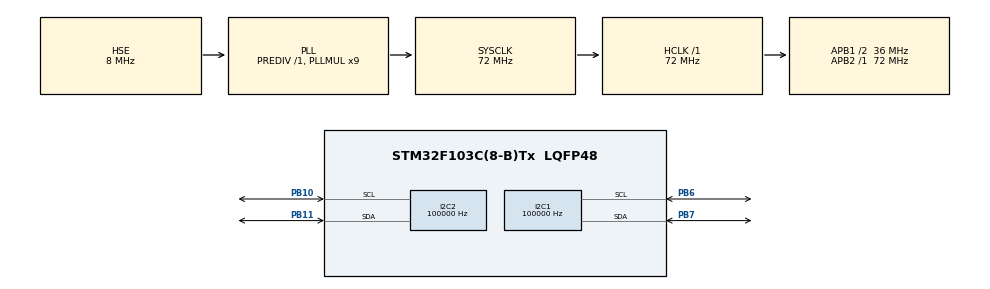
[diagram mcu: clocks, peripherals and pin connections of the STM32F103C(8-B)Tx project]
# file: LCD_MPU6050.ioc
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I2C1.ClockSpeed=100000
I2C1.I2C_Mode=I2C_Standard
I2C2.ClockSpeed=100000
I2C2.I2C_Mode=I2C_Standard
Mcu.Family=STM32F1
Mcu.Name=STM32F103C(8-B)Tx
Mcu.Package=LQFP48
NVIC.PriorityGroup=NVIC_PRIORITYGROUP_4
PA13.Mode=Serial_Wire
PA13.Signal=SYS_JTMS-SWDIO
PA14.Mode=Serial_Wire
PA14.Signal=SYS_JTCK-SWCLK
PB10.Mode=I2C
PB10.Signal=I2C2_SCL
PB11.Mode=I2C
PB11.Signal=I2C2_SDA
PB6.Mode=I2C
PB6.Signal=I2C1_SCL
PB7.Mode=I2C
PB7.Signal=I2C1_SDA
PD0-OSC_IN.Mode=HSE-External-Oscillator
PD0-OSC_IN.Signal=RCC_OSC_IN
PD1-OSC_OUT.Mode=HSE-External-Oscillator
PD1-OSC_OUT.Signal=RCC_OSC_OUT
ProjectManager.HeapSize=0x200
ProjectManager.StackSize=0x400
ProjectManager.TargetToolchain=STM32CubeIDE
RCC.AHBFreq_Value=72000000
RCC.APB1CLKDivider=RCC_HCLK_DIV2
RCC.APB1Freq_Value=36000000
RCC.APB1TimFreq_Value=72000000
RCC.APB2Freq_Value=72000000
RCC.APB2TimFreq_Value=72000000
RCC.HCLKFreq_Value=72000000
RCC.PLLMUL=RCC_PLL_MUL9
RCC.PLLSourceVirtual=RCC_PLLSOURCE_HSE
RCC.SYSCLKFreq_VALUE=72000000
RCC.SYSCLKSource=RCC_SYSCLKSOURCE_PLLCLK
RCC.USBFreq_Value=72000000
board=custom

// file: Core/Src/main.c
/* USER CODE BEGIN Header */
/**
  ******************************************************************************
  * @file           : main.c
  * @brief          : Main program body
  ******************************************************************************
  * @attention
  *
  * <h2><center>&copy; Copyright (c) 2019 STMicroelectronics.
  * All rights reserved.</center></h2>
  *
  * This software component is licensed by ST under BSD 3-Clause license,
  * the "License"; You may not use this file except in compliance with the
  * License. You may obtain a copy of the License at:
  *                        opensource.org/licenses/BSD-3-Clause
  *
  ******************************************************************************
  */
/* USER CODE END Header */
#include "main.h"
#include "i2c-lcd.h"

 I2C_HandleTypeDef hi2c1;
I2C_HandleTypeDef hi2c2;

void SystemClock_Config(void);
static void MX_GPIO_Init(void);
static void MX_I2C1_Init(void);
static void MX_I2C2_Init(void);

/* USER CODE BEGIN 0 */

#define MPU6050_ADDR 0xD0

#define SMPLRT_DIV_REG 0x19
#define GYRO_CONFIG_REG 0x1B
#define ACCEL_CONFIG_REG 0x1C
#define ACCEL_XOUT_H_REG 0x3B
#define TEMP_OUT_H_REG 0x41
#define GYRO_XOUT_H_REG 0x43
#define PWR_MGMT_1_REG 0x6B
#define WHO_AM_I_REG 0x75

int16_t Accel_X_RAW = 0;
int16_t Accel_Y_RAW = 0;
int16_t Accel_Z_RAW = 0;

int16_t Gyro_X_RAW = 0;
int16_t Gyro_Y_RAW = 0;
int16_t Gyro_Z_RAW = 0;

float Ax, Ay, Az, Gx, Gy, Gz;

void MPU6050_Init (void)
{
	uint8_t check =0;
	uint8_t Data;

	// check device ID WHO_AM_I

	HAL_I2C_Mem_Read (&hi2c2, MPU6050_ADDR,WHO_AM_I_REG,1, &check, 1, 3000);

	if (check == 0x68)  // 0x68 will be returned by the sensor if everything goes well
	{
		// power management register 0X6B we should write all 0's to wake the sensor up
		Data = 0;
		HAL_I2C_Mem_Write(&hi2c2, MPU6050_ADDR, PWR_MGMT_1_REG, 1,&Data, 1, 1000);

		// Set DATA RATE of 1KHz by writing SMPLRT_DIV register
		Data = 0x07;
		HAL_I2C_Mem_Write(&hi2c2, MPU6050_ADDR, SMPLRT_DIV_REG, 1, &Data, 1, 1000);

		// Set accelerometer configuration in ACCEL_CONFIG Register
		// XA_ST=0,YA_ST=0,ZA_ST=0, FS_SEL=0 -> � 2g
		Data = 0x00;
		HAL_I2C_Mem_Write(&hi2c2, MPU6050_ADDR, ACCEL_CONFIG_REG, 1, &Data, 1, 1000);

		// Set Gyroscopic configuration in GYRO_CONFIG Register
		// XG_ST=0,YG_ST=0,ZG_ST=0, FS_SEL=0 -> � 250 �/s
		Data = 0x00;
		HAL_I2C_Mem_Write(&hi2c2, MPU6050_ADDR, GYRO_CONFIG_REG, 1, &Data, 1, 1000);
	}

}

void MPU6050_Read_Accel (void)
{
	uint8_t Rec_Data[6];

	// Read 6 BYTES of data starting from ACCEL_XOUT_H register

	HAL_I2C_Mem_Read (&hi2c2, MPU6050_ADDR, ACCEL_XOUT_H_REG, 1, Rec_Data, 6, 2000);

	Accel_X_RAW = (int16_t)(Rec_Data[0] << 8 | Rec_Data [1]);//De esta forma leemos 2 bytes
	Accel_Y_RAW = (int16_t)(Rec_Data[2] << 8 | Rec_Data [3]);
	Accel_Z_RAW = (int16_t)(Rec_Data[4] << 8 | Rec_Data [5]);

	/*** convert the RAW values into acceleration in 'g'
	     we have to divide according to the Full scale value set in FS_SEL
	     I have configured FS_SEL = 0. So I am dividing by 16384.0
	     for more details check ACCEL_CONFIG Register              ****/

	Ax = Accel_X_RAW/16384.0;
	Ay = Accel_Y_RAW/16384.0;
	Az = Accel_Z_RAW/16384.0;
}

void MPU6050_Read_Gyro (void)
{
	uint8_t Rec_Data[6];

	// Read 6 BYTES of data starting from GYRO_XOUT_H register

	HAL_I2C_Mem_Read (&hi2c2, MPU6050_ADDR, GYRO_XOUT_H_REG, 1, Rec_Data, 6, 1000);

	Gyro_X_RAW = (int16_t)(Rec_Data[0] << 8 | Rec_Data [1]);
	Gyro_Y_RAW = (int16_t)(Rec_Data[2] << 8 | Rec_Data [3]);
	Gyro_Z_RAW = (int16_t)(Rec_Data[4] << 8 | Rec_Data [5]);

	/*** convert the RAW values into dps (�/s)
	     we have to divide according to the Full scale value set in FS_SEL
	     I have configured FS_SEL = 0. So I am dividing by 131.0
	     for more details check GYRO_CONFIG Register              ****/

	Gx = Gyro_X_RAW/131.0;
	Gy = Gyro_Y_RAW/131.0;
	Gz = Gyro_Z_RAW/131.0;
}

/* USER CODE END 0 */

int main(void)
{
	char buf[4];

  /* MCU Configuration--------------------------------------------------------*/

  /* Reset of all peripherals, Initializes the Flash interface and the Systick. */
  HAL_Init();

  /* USER CODE BEGIN Init */
  /* USER CODE BEGIN 1 */

  /* USER CODE END 1 */

  /* MCU Configuration--------------------------------------------------------*/
  /* USER CODE END Init */

  /* Configure the system clock */
  SystemClock_Config();

  /* Initialize all configured peripherals */
  MX_GPIO_Init();
  MX_I2C1_Init();
  MX_I2C2_Init();
  /* USER CODE BEGIN 2 */

  lcd_init();

  MPU6050_Init();

  lcd_send_string ("initialized");

  HAL_Delay (1000);  // wait for 1 sec

  lcd_clear ();

  lcd_send_cmd (0x80|0x5A);
  lcd_send_string ("MPU6050");

/*
  lcd_put_cur(1, 0);
  lcd_send_string ("MPU6050");*/

  /* USER CODE END 2 */

  /* Infinite loop */
  while (1)
  {

    /* USER CODE BEGIN 3 */

	  // read the Accelerometer and Gyro values

	  MPU6050_Read_Accel();
	  MPU6050_Read_Gyro();

	  // print the Acceleration and Gyro values on the LCD 20x4

	  /*lcd_put_cur(1, 0);
	  lcd_send_string ("Ax=");
	  sprintf (buf, "%.2f", Ax);
	  lcd_send_string (buf);
	  lcd_send_string ("g ");

	  lcd_put_cur(1, 9);  // goto 2,1
	  lcd_send_string ("Ay=");
	  sprintf (buf, "%.2f", Ay);
	  lcd_send_string (buf);
	  lcd_send_string ("g ");

	  lcd_send_cmd (0x80|0x14);  // goto 3,1
	  lcd_send_string ("Az=");
	  sprintf (buf, "%.2f", Az);
	  lcd_send_string (buf);
	  lcd_send_string ("g ");*/

	  lcd_clear();
	  lcd_put_cur(0, 0);
	  lcd_send_string ("Gy=");
	  sprintf (buf, "%.2f", Gy);
	  lcd_send_string (buf);

	  HAL_Delay(500);
/*
	  lcd_clear();
	  lcd_put_cur(0, 0);  // goto 2,11
	  lcd_send_string ("Gy=");
	  sprintf (buf, "%.2f", Gy);
	  lcd_send_string (buf);

	  HAL_Delay(500);

	  lcd_clear();
	  lcd_put_cur(0, 0);  // goto 3,11
	  lcd_send_string ("Gz=");
	  sprintf (buf, "%.2f", Gz);
	  lcd_send_string (buf);

	  HAL_Delay(500);

*/
  }
  /* USER CODE END 3 */
}

void SystemClock_Config(void)
{
  RCC_OscInitTypeDef RCC_OscInitStruct = {0};
  RCC_ClkInitTypeDef RCC_ClkInitStruct = {0};

  /** Initializes the RCC Oscillators according to the specified parameters
  * in the RCC_OscInitTypeDef structure.
  */
  RCC_OscInitStruct.OscillatorType = RCC_OSCILLATORTYPE_HSE;
  RCC_OscInitStruct.HSEState = RCC_HSE_ON;
  RCC_OscInitStruct.HSEPredivValue = RCC_HSE_PREDIV_DIV1;
  RCC_OscInitStruct.HSIState = RCC_HSI_ON;
  RCC_OscInitStruct.PLL.PLLState = RCC_PLL_ON;
  RCC_OscInitStruct.PLL.PLLSource = RCC_PLLSOURCE_HSE;
  RCC_OscInitStruct.PLL.PLLMUL = RCC_PLL_MUL9;
  if (HAL_RCC_OscConfig(&RCC_OscInitStruct) != HAL_OK)
  {
    Error_Handler();
  }

  /** Initializes the CPU, AHB and APB buses clocks
  */
  RCC_ClkInitStruct.ClockType = RCC_CLOCKTYPE_HCLK|RCC_CLOCKTYPE_SYSCLK
                              |RCC_CLOCKTYPE_PCLK1|RCC_CLOCKTYPE_PCLK2;
  RCC_ClkInitStruct.SYSCLKSource = RCC_SYSCLKSOURCE_PLLCLK;
  RCC_ClkInitStruct.AHBCLKDivider = RCC_SYSCLK_DIV1;
  RCC_ClkInitStruct.APB1CLKDivider = RCC_HCLK_DIV2;
  RCC_ClkInitStruct.APB2CLKDivider = RCC_HCLK_DIV1;

  if (HAL_RCC_ClockConfig(&RCC_ClkInitStruct, FLASH_LATENCY_2) != HAL_OK)
  {
    Error_Handler();
  }
}

static void MX_I2C1_Init(void)
{

  hi2c1.Instance = I2C1;
  hi2c1.Init.ClockSpeed = 100000;
  hi2c1.Init.DutyCycle = I2C_DUTYCYCLE_2;
  hi2c1.Init.OwnAddress1 = 0;
  hi2c1.Init.AddressingMode = I2C_ADDRESSINGMODE_7BIT;
  hi2c1.Init.DualAddressMode = I2C_DUALADDRESS_DISABLE;
  hi2c1.Init.OwnAddress2 = 0;
  hi2c1.Init.GeneralCallMode = I2C_GENERALCALL_DISABLE;
  hi2c1.Init.NoStretchMode = I2C_NOSTRETCH_DISABLE;
  if (HAL_I2C_Init(&hi2c1) != HAL_OK)
  {
    Error_Handler();
  }

}

static void MX_I2C2_Init(void)
{

  hi2c2.Instance = I2C2;
  hi2c2.Init.ClockSpeed = 100000;
  hi2c2.Init.DutyCycle = I2C_DUTYCYCLE_2;
  hi2c2.Init.OwnAddress1 = 0;
  hi2c2.Init.AddressingMode = I2C_ADDRESSINGMODE_7BIT;
  hi2c2.Init.DualAddressMode = I2C_DUALADDRESS_DISABLE;
  hi2c2.Init.OwnAddress2 = 0;
  hi2c2.Init.GeneralCallMode = I2C_GENERALCALL_DISABLE;
  hi2c2.Init.NoStretchMode = I2C_NOSTRETCH_DISABLE;
  if (HAL_I2C_Init(&hi2c2) != HAL_OK)
  {
    Error_Handler();
  }

}

static void MX_GPIO_Init(void)
{

  /* GPIO Ports Clock Enable */
  __HAL_RCC_GPIOD_CLK_ENABLE();
  __HAL_RCC_GPIOB_CLK_ENABLE();
  __HAL_RCC_GPIOA_CLK_ENABLE();

}

void Error_Handler(void)
{
  __disable_irq();
  while (1)
  {
  }
}
